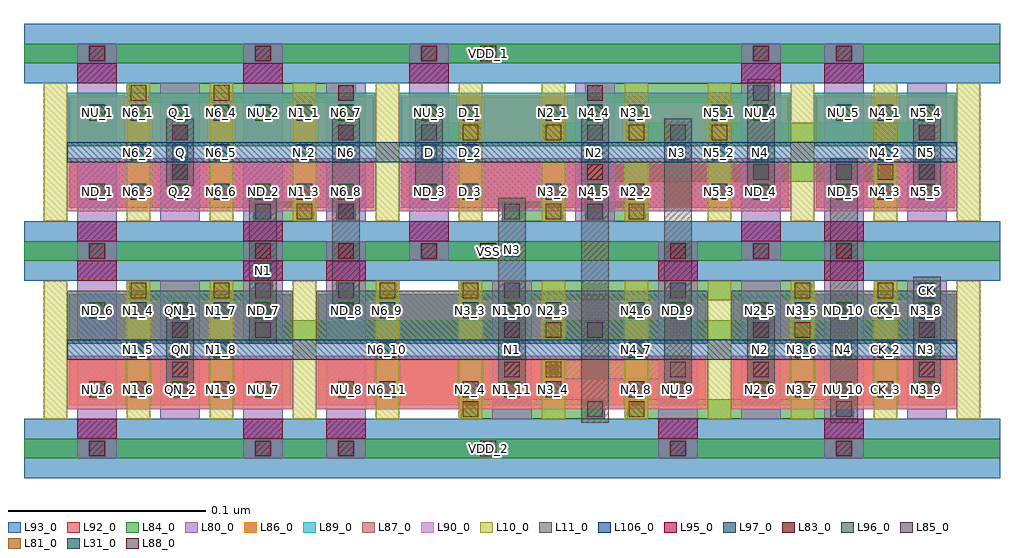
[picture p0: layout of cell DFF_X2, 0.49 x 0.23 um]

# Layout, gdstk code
import gdstk
lib = gdstk.Library(unit=1e-6, precision=1e-09)
def R(c, l, rs):  # rectangles x0, y0, x1, y1
    for r in rs: c.add(gdstk.rectangle(r[:2], r[2:], *l))
def A(c, l, x, y, w, h, nx, ny, dx, dy):  # array of equal rectangles
    R(c, l, [(x+i*dx, y+j*dy, x+i*dx+w, y+j*dy+h) for i in range(nx) for j in range(ny)])
L10_0 = (10, 0)
L11_0 = (11, 0)
L31_0 = (31, 0)
L80_0 = (80, 0)
L81_0 = (81, 0)
L83_0 = (83, 0)
L84_0 = (84, 0)
L85_0 = (85, 0)
L86_0 = (86, 0)
L87_0 = (87, 0)
L88_0 = (88, 0)
L89_0 = (89, 0)
L90_0 = (90, 0)
L92_0 = (92, 0)
L93_0 = (93, 0)
L95_0 = (95, 0)
L96_0 = (96, 0)
L97_0 = (97, 0)
L106_0 = (106, 0)

dff_x2 = lib.new_cell('DFF_X2')
A(dff_x2, L10_0, -0.027, -0.085, 0.012, 0.07, 5, 1, 0.042, 0)
A(dff_x2, L10_0, 0.267, -0.085, 0.012, 0.07, 5, 1, 0.042, 0)
A(dff_x2, L10_0, -0.027, 0.015, 0.012, 0.07, 6, 1, 0.042, 0)
A(dff_x2, L10_0, 0.309, 0.015, 0.012, 0.07, 4, 1, 0.042, 0)
R(dff_x2, L10_0, [(0.183,-0.085,0.195,-0.055), (0.225,-0.085,0.237,-0.055), (0.183,-0.045,0.195,-0.015), (0.225,-0.045,0.237,-0.015), (0.225,0.015,0.237,0.045), (0.267,0.015,0.279,0.045), (0.225,0.055,0.237,0.085), (0.267,0.055,0.279,0.085)])
A(dff_x2, L11_0, 0.203, -0.067, 0.014, 0.034, 6, 1, 0.042, 0)
A(dff_x2, L11_0, 0.077, -0.047, 0.014, 0.034, 1, 3, 0, 0.02)
A(dff_x2, L11_0, 0.371, -0.047, 0.014, 0.034, 1, 4, 0, 0.02)
A(dff_x2, L11_0, 0.119, -0.027, 0.014, 0.034, 1, 4, 0, 0.02)
A(dff_x2, L11_0, 0.203, -0.027, 0.014, 0.034, 3, 2, 0.042, 0.02)
A(dff_x2, L11_0, 0.245, 0.033, 0.014, 0.034, 3, 1, 0.042, 0)
R(dff_x2, L11_0, [(0.245,-0.087,0.259,-0.053), (0.371,-0.087,0.385,-0.053), (0.035,-0.067,0.049,-0.033), (0.245,-0.047,0.259,-0.013), (0.287,-0.047,0.301,-0.013), (0.413,-0.027,0.427,-0.013), (0.245,0.013,0.259,0.047), (0.287,0.013,0.301,0.047), (0.035,0.033,0.049,0.067), (0.161,0.033,0.175,0.067), (0.413,0.033,0.427,0.067), (0.329,0.053,0.343,0.087)])
A(dff_x2, L31_0, 0.332, -0.054, 0.008, 0.008, 3, 1, 0.042, 0)
A(dff_x2, L31_0, 0.248, 0.046, 0.008, 0.008, 3, 1, 0.042, 0)
R(dff_x2, L31_0, [(0.038,-0.054,0.046,-0.046), (0.206,-0.054,0.214,-0.046), (0.416,-0.024,0.424,-0.016), (0.08,-0.014,0.088,-0.006), (0.206,-0.003,0.214,0.005), (0.038,0.046,0.046,0.054), (0.122,0.046,0.13,0.054), (0.164,0.046,0.172,0.054), (0.416,0.046,0.424,0.054)])
A(dff_x2, L80_0, -0.01, -0.085, 0.02, 0.03, 4, 2, 0.042, 0.04)
A(dff_x2, L80_0, 0.284, -0.085, 0.02, 0.03, 4, 2, 0.042, 0.04)
A(dff_x2, L80_0, -0.01, -0.005, 0.02, 0.03, 3, 2, 0.084, 0.08)
A(dff_x2, L80_0, -0.01, 0.015, 0.02, 0.03, 5, 2, 0.042, 0.04)
A(dff_x2, L80_0, 0.326, 0.015, 0.02, 0.03, 3, 2, 0.042, 0.04)
R(dff_x2, L80_0, [(-0.01,-0.105,0.01,-0.075), (0.074,-0.105,0.094,-0.075), (0.116,-0.105,0.136,-0.075), (0.284,-0.105,0.304,-0.075), (0.368,-0.105,0.388,-0.075), (0.2,-0.085,0.22,-0.055), (0.2,-0.045,0.22,-0.015), (-0.01,-0.025,0.01,0.005), (0.074,-0.025,0.094,0.005), (0.116,-0.025,0.136,0.005), (0.284,-0.025,0.304,0.005), (0.368,-0.025,0.388,0.005), (0.326,-0.005,0.346,0.025), (0.368,-0.005,0.388,0.025), (0.242,0.015,0.262,0.045), (0.242,0.055,0.262,0.085), (0.326,0.075,0.346,0.105), (0.368,0.075,0.388,0.105)])
A(dff_x2, L81_0, 0.185, 0.056, 0.008, 0.008, 4, 1, 0.042, 0)
R(dff_x2, L81_0, [(0.185,-0.084,0.193,-0.076), (0.269,-0.084,0.277,-0.076), (0.227,-0.064,0.235,-0.056), (0.227,-0.044,0.235,-0.036), (0.353,-0.044,0.361,-0.036), (0.017,-0.024,0.025,-0.016), (0.059,-0.024,0.067,-0.016), (0.143,-0.024,0.151,-0.016), (0.185,-0.024,0.193,-0.016), (0.353,-0.024,0.361,-0.016), (0.395,-0.024,0.403,-0.016), (0.101,0.016,0.109,0.024), (0.227,0.016,0.235,0.024), (0.269,0.016,0.277,0.024), (0.395,0.036,0.403,0.044), (0.017,0.076,0.025,0.084), (0.017,0.076,0.025,0.084), (0.017,0.076,0.025,0.084), (0.017,0.076,0.025,0.084), (0.017,0.076,0.025,0.084), (0.017,0.076,0.025,0.084), (0.017,0.076,0.025,0.084), (0.059,0.076,0.067,0.084), (0.059,0.076,0.067,0.084)])
A(dff_x2, L83_0, 0.374, -0.104, 0.008, 0.008, 1, 3, 0, 0.1)
A(dff_x2, L83_0, 0.08, -0.004, 0.008, 0.008, 3, 1, 0.042, 0)
A(dff_x2, L83_0, 0.29, -0.004, 0.008, 0.008, 3, 1, 0.042, 0)
A(dff_x2, L83_0, -0.004, 0.096, 0.008, 0.008, 3, 1, 0.084, 0)
R(dff_x2, L83_0, [(-0.004,-0.104,0.004,-0.096), (0.08,-0.104,0.088,-0.096), (0.122,-0.104,0.13,-0.096), (0.29,-0.104,0.298,-0.096), (0.038,-0.064,0.046,-0.056), (0.206,-0.064,0.214,-0.056), (0.332,-0.064,0.34,-0.056), (0.416,-0.064,0.424,-0.056), (0.038,-0.044,0.046,-0.036), (0.206,-0.044,0.214,-0.036), (0.332,-0.044,0.34,-0.036), (0.416,-0.044,0.424,-0.036), (-0.004,-0.004,0.004,0.004), (-0.004,-0.004,0.004,0.004), (0.08,-0.004,0.088,0.004), (0.122,0.016,0.13,0.024), (0.038,0.036,0.046,0.044), (0.038,0.036,0.046,0.044), (0.248,0.036,0.256,0.044), (0.416,0.036,0.424,0.044), (0.038,0.056,0.046,0.064), (0.038,0.056,0.046,0.064), (0.122,0.056,0.13,0.064), (0.416,0.056,0.424,0.064), (0.122,0.076,0.13,0.084), (0.248,0.076,0.256,0.084), (0.332,0.096,0.34,0.104)])
A(dff_x2, L84_0, -0.037, -0.105, 0.494, 0.01, 1, 3, 0, 0.1)
A(dff_x2, L84_0, 0.184, -0.085, 0.031, 0.01, 3, 1, 0.021, 0)
A(dff_x2, L84_0, 0.268, -0.085, 0.031, 0.01, 5, 1, 0.021, 0)
A(dff_x2, L84_0, 0.226, -0.065, 0.031, 0.01, 3, 1, 0.021, 0)
A(dff_x2, L84_0, 0.079, -0.045, 0.031, 0.01, 6, 1, 0.021, 0)
A(dff_x2, L84_0, 0.226, -0.045, 0.031, 0.01, 5, 1, 0.021, 0)
A(dff_x2, L84_0, 0.352, -0.045, 0.031, 0.01, 3, 1, 0.021, 0)
A(dff_x2, L84_0, 0.016, -0.025, 0.031, 0.01, 3, 1, 0.021, 0)
A(dff_x2, L84_0, 0.184, -0.025, 0.031, 0.01, 8, 1, 0.021, 0)
A(dff_x2, L84_0, 0.247, 0.035, 0.031, 0.01, 7, 1, 0.021, 0)
A(dff_x2, L84_0, 0.226, 0.055, 0.031, 0.01, 3, 1, 0.042, 0)
A(dff_x2, L84_0, 0.331, 0.055, 0.031, 0.01, 4, 1, 0.021, 0)
A(dff_x2, L84_0, 0.016, 0.075, 0.031, 0.01, 5, 1, 0.021, 0)
A(dff_x2, L84_0, 0.247, 0.075, 0.031, 0.01, 4, 1, 0.021, 0)
R(dff_x2, L84_0, [(0.037,-0.065,0.047,-0.055), (0.205,-0.065,0.215,-0.055), (0.331,-0.065,0.341,-0.055), (0.415,-0.065,0.425,-0.055), (0.037,-0.045,0.047,-0.035), (0.121,-0.025,0.152,-0.015), (0.393,-0.025,0.427,-0.015), (0.079,0.015,0.11,0.025), (0.121,0.015,0.131,0.025), (0.205,0.015,0.236,0.025), (0.247,0.015,0.278,0.025), (0.037,0.035,0.047,0.045), (0.415,0.035,0.425,0.045), (0.037,0.055,0.047,0.065), (0.121,0.055,0.131,0.065), (0.163,0.055,0.194,0.065)])
A(dff_x2, L85_0, 0.248, -0.044, 0.008, 0.008, 3, 1, 0.084, 0)
A(dff_x2, L85_0, 0.122, -0.024, 0.008, 0.008, 3, 1, 0.084, 0)
A(dff_x2, L85_0, 0.332, 0.036, 0.008, 0.008, 3, 1, 0.042, 0)
R(dff_x2, L85_0, [(0.248,-0.084,0.256,-0.076), (0.374,-0.084,0.382,-0.076), (0.038,-0.064,0.046,-0.056), (0.206,-0.064,0.214,-0.056), (0.29,-0.064,0.298,-0.056), (0.332,-0.064,0.34,-0.056), (0.416,-0.064,0.424,-0.056), (0.038,-0.044,0.046,-0.036), (0.08,-0.044,0.088,-0.036), (0.206,-0.044,0.214,-0.036), (0.08,-0.024,0.088,-0.016), (0.416,-0.024,0.424,-0.016), (0.08,0.016,0.088,0.024), (0.122,0.016,0.13,0.024), (0.206,0.016,0.214,0.024), (0.248,0.016,0.256,0.024), (0.038,0.036,0.046,0.044), (0.038,0.056,0.046,0.064), (0.122,0.056,0.13,0.064), (0.164,0.056,0.172,0.064), (0.248,0.056,0.256,0.064), (0.29,0.056,0.298,0.064), (0.416,0.056,0.424,0.064), (0.332,0.076,0.34,0.084)])
R(dff_x2, L86_0, [(-0.015,-0.08,0.099,-0.053), (0.111,-0.08,0.309,-0.053), (0.321,-0.08,0.435,-0.053), (-0.015,0.053,0.141,0.08), (0.153,0.053,0.351,0.08), (0.363,0.053,0.435,0.08)])
R(dff_x2, L87_0, [(-0.015,-0.047,0.099,-0.02), (0.111,-0.047,0.309,-0.02), (0.321,-0.047,0.435,-0.02), (-0.015,0.02,0.141,0.047), (0.153,0.02,0.351,0.047), (0.363,0.02,0.435,0.047)])
A(dff_x2, L88_0, 0.194, -0.104, 0.008, 0.008, 1, 3, 0, 0.1)
R(dff_x2, L89_0, [(-0.015,-0.047,0.099,-0.02), (0.111,-0.047,0.309,-0.02), (0.321,-0.047,0.435,-0.02), (-0.015,0.053,0.141,0.08), (0.153,0.053,0.351,0.08), (0.363,0.053,0.435,0.08)])
R(dff_x2, L90_0, [(-0.015,-0.08,0.099,-0.053), (0.111,-0.08,0.309,-0.053), (0.321,-0.08,0.435,-0.053), (-0.015,0.02,0.141,0.047), (0.153,0.02,0.351,0.047), (0.363,0.02,0.435,0.047)])
R(dff_x2, L92_0, [(-0.014,-0.078,0.098,-0.055), (0.112,-0.078,0.308,-0.055), (0.322,-0.078,0.434,-0.055), (-0.014,-0.045,0.098,-0.022), (0.112,-0.045,0.308,-0.022), (0.322,-0.045,0.434,-0.022), (-0.014,0.022,0.14,0.045), (0.154,0.022,0.35,0.045), (0.364,0.022,0.434,0.045), (-0.014,0.055,0.14,0.078), (0.154,0.055,0.35,0.078), (0.364,0.055,0.434,0.078)])
A(dff_x2, L93_0, -0.037, -0.115, 0.494, 0.03, 1, 3, 0, 0.1)
A(dff_x2, L95_0, -0.01, 0.005, 0.02, 0.01, 3, 2, 0.084, 0.08)
R(dff_x2, L95_0, [(-0.01,-0.095,0.01,-0.085), (0.074,-0.095,0.094,-0.085), (0.116,-0.095,0.136,-0.085), (0.284,-0.095,0.304,-0.085), (0.368,-0.095,0.388,-0.085), (-0.01,-0.015,0.01,-0.005), (0.074,-0.015,0.094,-0.005), (0.116,-0.015,0.136,-0.005), (0.284,-0.015,0.304,-0.005), (0.368,-0.015,0.388,-0.005), (0.326,0.005,0.346,0.015), (0.368,0.005,0.388,0.015), (0.326,0.085,0.346,0.095), (0.368,0.085,0.388,0.095)])
A(dff_x2, L96_0, -0.004, -0.074, 0.008, 0.008, 4, 2, 0.042, 0.04)
A(dff_x2, L96_0, 0.29, -0.074, 0.008, 0.008, 4, 2, 0.042, 0.04)
A(dff_x2, L96_0, -0.004, 0.026, 0.008, 0.008, 5, 2, 0.042, 0.04)
A(dff_x2, L96_0, 0.332, 0.026, 0.008, 0.008, 3, 2, 0.042, 0.04)
R(dff_x2, L96_0, [(0.206,-0.074,0.214,-0.066), (0.206,-0.034,0.214,-0.026), (0.248,0.026,0.256,0.034), (0.248,0.066,0.256,0.074)])
A(dff_x2, L97_0, 0.017, -0.074, 0.008, 0.008, 1, 3, 0, 0.02)
A(dff_x2, L97_0, 0.059, -0.074, 0.008, 0.008, 1, 3, 0, 0.02)
A(dff_x2, L97_0, 0.143, -0.074, 0.008, 0.008, 4, 2, 0.042, 0.04)
A(dff_x2, L97_0, 0.353, -0.074, 0.008, 0.008, 1, 3, 0, 0.02)
A(dff_x2, L97_0, 0.395, -0.074, 0.008, 0.008, 1, 3, 0, 0.02)
A(dff_x2, L97_0, 0.017, 0.026, 0.008, 0.008, 3, 3, 0.042, 0.02)
A(dff_x2, L97_0, 0.185, 0.026, 0.008, 0.008, 4, 2, 0.042, 0.04)
A(dff_x2, L97_0, 0.395, 0.026, 0.008, 0.008, 1, 3, 0, 0.02)
R(dff_x2, L97_0, [(0.143,-0.054,0.151,-0.046), (0.269,-0.054,0.277,-0.046), (0.185,0.046,0.193,0.054), (0.311,0.046,0.319,0.054)])
R(dff_x2, L106_0, [(-0.015,-0.055,0.435,-0.045), (-0.015,0.045,0.435,0.055)])
dff_x2.add(gdstk.Label('N6_3', (0.021,0.03), layer=97, texttype=0))
dff_x2.add(gdstk.Label('N6_1', (0.021,0.07), layer=97, texttype=0))
dff_x2.add(gdstk.Label('N6_2', (0.021,0.05), layer=97, texttype=0))
dff_x2.add(gdstk.Label('N1_4', (0.021,-0.03), layer=97, texttype=0))
dff_x2.add(gdstk.Label('N1_6', (0.021,-0.07), layer=97, texttype=0))
dff_x2.add(gdstk.Label('N1_5', (0.021,-0.05), layer=97, texttype=0))
dff_x2.add(gdstk.Label('N1_9', (0.063,-0.07), layer=97, texttype=0))
dff_x2.add(gdstk.Label('N1_7', (0.063,-0.03), layer=97, texttype=0))
dff_x2.add(gdstk.Label('N1_8', (0.063,-0.05), layer=97, texttype=0))
dff_x2.add(gdstk.Label('N6_10', (0.147,-0.05), layer=97, texttype=0))
dff_x2.add(gdstk.Label('N6_11', (0.147,-0.07), layer=97, texttype=0))
dff_x2.add(gdstk.Label('N6_9', (0.147,-0.03), layer=97, texttype=0))
dff_x2.add(gdstk.Label('N3_3', (0.189,-0.03), layer=97, texttype=0))
dff_x2.add(gdstk.Label('N2_4', (0.189,-0.07), layer=97, texttype=0))
dff_x2.add(gdstk.Label('N2_3', (0.231,-0.03), layer=97, texttype=0))
dff_x2.add(gdstk.Label('N3_4', (0.231,-0.07), layer=97, texttype=0))
dff_x2.add(gdstk.Label('N4_8', (0.273,-0.07), layer=97, texttype=0))
dff_x2.add(gdstk.Label('N4_6', (0.273,-0.03), layer=97, texttype=0))
dff_x2.add(gdstk.Label('N4_7', (0.273,-0.05), layer=97, texttype=0))
dff_x2.add(gdstk.Label('N3_6', (0.357,-0.05), layer=97, texttype=0))
dff_x2.add(gdstk.Label('N3_7', (0.357,-0.07), layer=97, texttype=0))
dff_x2.add(gdstk.Label('N3_5', (0.357,-0.03), layer=97, texttype=0))
dff_x2.add(gdstk.Label('CK_2', (0.399,-0.05), layer=97, texttype=0))
dff_x2.add(gdstk.Label('CK_1', (0.399,-0.03), layer=97, texttype=0))
dff_x2.add(gdstk.Label('CK_3', (0.399,-0.07), layer=97, texttype=0))
dff_x2.add(gdstk.Label('N4_1', (0.399,0.07), layer=97, texttype=0))
dff_x2.add(gdstk.Label('N4_3', (0.399,0.03), layer=97, texttype=0))
dff_x2.add(gdstk.Label('N4_2', (0.399,0.05), layer=97, texttype=0))
dff_x2.add(gdstk.Label('N5_3', (0.315,0.03), layer=97, texttype=0))
dff_x2.add(gdstk.Label('N5_1', (0.315,0.07), layer=97, texttype=0))
dff_x2.add(gdstk.Label('N5_2', (0.315,0.05), layer=97, texttype=0))
dff_x2.add(gdstk.Label('N2_2', (0.273,0.03), layer=97, texttype=0))
dff_x2.add(gdstk.Label('N3_1', (0.273,0.07), layer=97, texttype=0))
dff_x2.add(gdstk.Label('N2_1', (0.231,0.07), layer=97, texttype=0))
dff_x2.add(gdstk.Label('N3_2', (0.231,0.03), layer=97, texttype=0))
dff_x2.add(gdstk.Label('D_1', (0.189,0.07), layer=97, texttype=0))
dff_x2.add(gdstk.Label('D_3', (0.189,0.03), layer=97, texttype=0))
dff_x2.add(gdstk.Label('D_2', (0.189,0.05), layer=97, texttype=0))
dff_x2.add(gdstk.Label('N1_3', (0.105,0.03), layer=97, texttype=0))
dff_x2.add(gdstk.Label('N1_1', (0.105,0.07), layer=97, texttype=0))
dff_x2.add(gdstk.Label('N_2', (0.105,0.05), layer=97, texttype=0))
dff_x2.add(gdstk.Label('N6_5', (0.063,0.05), layer=97, texttype=0))
dff_x2.add(gdstk.Label('N6_6', (0.063,0.03), layer=97, texttype=0))
dff_x2.add(gdstk.Label('N6_4', (0.063,0.07), layer=97, texttype=0))
dff_x2.add(gdstk.Label('NU_2', (0.084,0.07), layer=96, texttype=0))
dff_x2.add(gdstk.Label('ND_2', (0.084,0.03), layer=96, texttype=0))
dff_x2.add(gdstk.Label('N6_8', (0.126,0.03), layer=96, texttype=0))
dff_x2.add(gdstk.Label('N6_7', (0.126,0.07), layer=96, texttype=0))
dff_x2.add(gdstk.Label('ND_3', (0.168,0.03), layer=96, texttype=0))
dff_x2.add(gdstk.Label('NU_3', (0.168,0.07), layer=96, texttype=0))
dff_x2.add(gdstk.Label('N4_4', (0.252,0.07), layer=96, texttype=0))
dff_x2.add(gdstk.Label('N4_5', (0.252,0.03), layer=96, texttype=0))
dff_x2.add(gdstk.Label('NU_4', (0.336,0.07), layer=96, texttype=0))
dff_x2.add(gdstk.Label('ND_4', (0.336,0.03), layer=96, texttype=0))
dff_x2.add(gdstk.Label('N5_5', (0.42,0.03), layer=96, texttype=0))
dff_x2.add(gdstk.Label('N5_4', (0.42,0.07), layer=96, texttype=0))
dff_x2.add(gdstk.Label('ND_5', (0.378,0.03), layer=96, texttype=0))
dff_x2.add(gdstk.Label('NU_5', (0.378,0.07), layer=96, texttype=0))
dff_x2.add(gdstk.Label('ND_10', (0.378,-0.03), layer=96, texttype=0))
dff_x2.add(gdstk.Label('NU_10', (0.378,-0.07), layer=96, texttype=0))
dff_x2.add(gdstk.Label('N3_8', (0.42,-0.03), layer=96, texttype=0))
dff_x2.add(gdstk.Label('N3_9', (0.42,-0.07), layer=96, texttype=0))
dff_x2.add(gdstk.Label('N2_6', (0.336,-0.07), layer=96, texttype=0))
dff_x2.add(gdstk.Label('N2_5', (0.336,-0.03), layer=96, texttype=0))
dff_x2.add(gdstk.Label('NU_9', (0.294,-0.07), layer=96, texttype=0))
dff_x2.add(gdstk.Label('ND_9', (0.294,-0.03), layer=96, texttype=0))
dff_x2.add(gdstk.Label('N1_10', (0.21,-0.03), layer=96, texttype=0))
dff_x2.add(gdstk.Label('N1_11', (0.21,-0.07), layer=96, texttype=0))
dff_x2.add(gdstk.Label('ND_8', (0.126,-0.03), layer=96, texttype=0))
dff_x2.add(gdstk.Label('NU_8', (0.126,-0.07), layer=96, texttype=0))
dff_x2.add(gdstk.Label('NU_7', (0.084,-0.07), layer=96, texttype=0))
dff_x2.add(gdstk.Label('ND_7', (0.084,-0.03), layer=96, texttype=0))
dff_x2.add(gdstk.Label('NU_6', (0,-0.07), layer=96, texttype=0))
dff_x2.add(gdstk.Label('ND_6', (0,-0.03), layer=96, texttype=0))
dff_x2.add(gdstk.Label('QN_1', (0.042,-0.03), layer=96, texttype=0))
dff_x2.add(gdstk.Label('QN_2', (0.042,-0.07), layer=96, texttype=0))
dff_x2.add(gdstk.Label('Q_2', (0.042,0.03), layer=96, texttype=0))
dff_x2.add(gdstk.Label('NU_1', (0,0.07), layer=96, texttype=0))
dff_x2.add(gdstk.Label('Q_1', (0.042,0.07), layer=96, texttype=0))
dff_x2.add(gdstk.Label('ND_1', (0,0.03), layer=96, texttype=0))
dff_x2.add(gdstk.Label('VDD_2', (0.198,-0.1), layer=88, texttype=0))
dff_x2.add(gdstk.Label('VDD_1', (0.198,0.1), layer=88, texttype=0))
dff_x2.add(gdstk.Label('VSS', (0.198,0), layer=88, texttype=0))
dff_x2.add(gdstk.Label('CK', (0.42,-0.02), layer=31, texttype=0))
dff_x2.add(gdstk.Label('D', (0.168,0.05), layer=31, texttype=0))
dff_x2.add(gdstk.Label('N1', (0.084,-0.01), layer=31, texttype=0))
dff_x2.add(gdstk.Label('QN', (0.042,-0.05), layer=31, texttype=0))
dff_x2.add(gdstk.Label('N1', (0.21,-0.05), layer=31, texttype=0))
dff_x2.add(gdstk.Label('N2', (0.336,-0.05), layer=31, texttype=0))
dff_x2.add(gdstk.Label('N4', (0.378,-0.05), layer=31, texttype=0))
dff_x2.add(gdstk.Label('N3', (0.42,-0.05), layer=31, texttype=0))
dff_x2.add(gdstk.Label('N5', (0.42,0.05), layer=31, texttype=0))
dff_x2.add(gdstk.Label('N4', (0.336,0.05), layer=31, texttype=0))
dff_x2.add(gdstk.Label('N3', (0.294,0.05), layer=31, texttype=0))
dff_x2.add(gdstk.Label('N6', (0.126,0.05), layer=31, texttype=0))
dff_x2.add(gdstk.Label('Q', (0.042,0.05), layer=31, texttype=0))
dff_x2.add(gdstk.Label('N2', (0.252,0.05), layer=31, texttype=0))
dff_x2.add(gdstk.Label('N3', (0.21,0.001), layer=31, texttype=0))

lib.write_gds('DFF_X2.gds')
